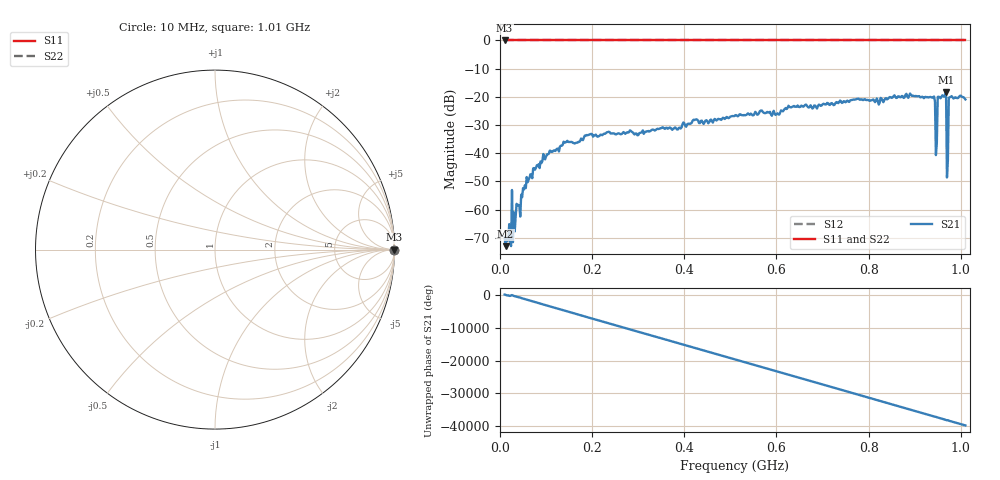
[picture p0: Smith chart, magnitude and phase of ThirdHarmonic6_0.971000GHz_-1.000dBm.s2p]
! 8/16/2025 7:22:21 AM
! C:\ANRITSUVNA\TEMP\TEMP.S2P
! CHANNEL.1
! TR.MEASUREMENT
! RAW.DATA
! RF.CORRECTION.OFF
! AVERAGING.OFF
! IF.BANDWIDTH: 5KHZ
! SWEEPTYPE:  FREQ.SWEEP(Linear)
! Reference Plane Port Info
! PORT:  PORT1  PORT2
! DISTANCE:  0  m  0  m
! TIME:  0  s  0  s
! PHASE.OFFSET:  0  deg.  0  deg.
! LOSS:  0  dB  0  dB
! REF.LOSS:  0  dB  0  dB
! REF.FREQ:  0  Hz  0  Hz
! Power Info
! POWER:  -20  dBm  -20  dBm
! EFF.POWER:  -20  dBm  -20  dBm
! SOURCE.ATTEN:  0  dB  0  dB
! TEST.ATTEN:  0  dB  0  dB
# GHZ S RI R 50.0
! FREQ.GHZ  S11RE  S11IM  S21RE  S21IM  S12RE  S12IM  S22RE  S22IM
!; PortSelection: Port_12
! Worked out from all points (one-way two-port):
!   501 points, 10 MHz to 1.01 GHz, reference 50 ohm
!   highest |S21| = -18.35 dB at 968 MHz (marker M1); lowest = -73.0 dB at 12 MHz (marker M2)
!   lowest |S11| = 0.0 dB at 10 MHz (marker M3)
!   |S11| at or under -10 dB: nowhere
!   |S22| runs from 0.0 to 0.0 dB; largest |S21 - S12| = 1.1
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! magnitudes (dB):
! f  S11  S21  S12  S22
! 10 MHz  0.0  -69.7  0.0  0.0
! 12 MHz  0.0  -73.0  0.0  0.0
! 20 MHz  0.0  -65.2  0.0  0.0
! 22 MHz  0.0  -71.1  0.0  0.0
! 54 MHz  0.0  -51.4  0.0  0.0
! 76 MHz  0.0  -45.8  0.0  0.0
! 142 MHz  0.0  -36.2  0.0  0.0
! 178 MHz  0.0  -35.0  0.0  0.0
! 344 MHz  0.0  -31.4  0.0  0.0
! 510 MHz  0.0  -26.6  0.0  0.0
! 678 MHz  0.0  -24.2  0.0  0.0
! 844 MHz  0.0  -20.3  0.0  0.0
! 938 MHz  0.0  -20.3  0.0  0.0
! 944 MHz  0.0  -21.6  0.0  0.0
! 948 MHz  0.0  -36.3  0.0  0.0
! 950 MHz  0.0  -20.0  0.0  0.0
! 954 MHz  0.0  -20.1  0.0  0.0
! 964 MHz  0.0  -19.9  0.0  0.0
! 968 MHz  0.0  -18.3  0.0  0.0
! 974 MHz  0.0  -20.4  0.0  0.0
! 978 MHz  0.0  -20.0  0.0  0.0
! 1.01 GHz  0.0  -20.9  0.0  0.0
